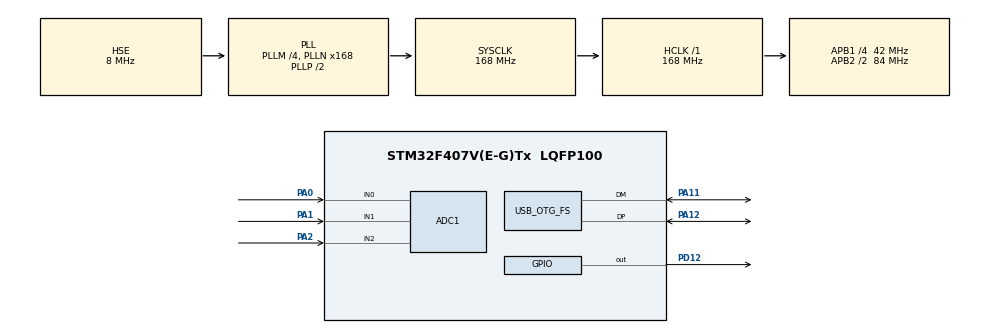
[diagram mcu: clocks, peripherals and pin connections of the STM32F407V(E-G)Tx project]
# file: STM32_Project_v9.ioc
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ADC1.Channel-8\#ChannelRegularConversion=ADC_CHANNEL_1
ADC1.Channel-9\#ChannelRegularConversion=ADC_CHANNEL_2
ADC1.ContinuousConvMode=ENABLE
ADC1.DMAContinuousRequests=ENABLE
ADC1.EOCSelection=ADC_EOC_SEQ_CONV
ADC1.NbrOfConversion=3
ADC1.NbrOfConversionFlag=1
ADC1.Rank-8\#ChannelRegularConversion=2
ADC1.Rank-9\#ChannelRegularConversion=3
ADC1.SamplingTime-8\#ChannelRegularConversion=ADC_SAMPLETIME_3CYCLES
ADC1.SamplingTime-9\#ChannelRegularConversion=ADC_SAMPLETIME_3CYCLES
ADC1.master=1
Dma.ADC1.0.Direction=DMA_PERIPH_TO_MEMORY
Dma.ADC1.0.FIFOMode=DMA_FIFOMODE_DISABLE
Dma.ADC1.0.Instance=DMA2_Stream0
Dma.ADC1.0.MemDataAlignment=DMA_MDATAALIGN_HALFWORD
Dma.ADC1.0.MemInc=DMA_MINC_ENABLE
Dma.ADC1.0.Mode=DMA_CIRCULAR
Dma.ADC1.0.PeriphDataAlignment=DMA_PDATAALIGN_HALFWORD
Dma.ADC1.0.PeriphInc=DMA_PINC_DISABLE
Dma.ADC1.0.Priority=DMA_PRIORITY_LOW
Dma.Request0=ADC1
Mcu.Family=STM32F4
Mcu.Name=STM32F407V(E-G)Tx
Mcu.Package=LQFP100
NVIC.DMA2_Stream0_IRQn=true\:0\:0\:false\:false\:true\:false\:true\:true
NVIC.OTG_FS_IRQn=true\:0\:0\:false\:false\:true\:false\:true\:true
NVIC.PriorityGroup=NVIC_PRIORITYGROUP_4
PA0-WKUP.Signal=SharedAnalog_PA0
PA1.Signal=SharedAnalog_PA1
PA11.Mode=Device_Only
PA11.Signal=USB_OTG_FS_DM
PA12.Mode=Device_Only
PA12.Signal=USB_OTG_FS_DP
PA2.Signal=SharedAnalog_PA2
PD12.Signal=GPIO_Output
PH0-OSC_IN.Mode=HSE-External-Oscillator
PH0-OSC_IN.Signal=RCC_OSC_IN
PH1-OSC_OUT.Mode=HSE-External-Oscillator
PH1-OSC_OUT.Signal=RCC_OSC_OUT
ProjectManager.HeapSize=0x200
ProjectManager.StackSize=0x400
ProjectManager.TargetToolchain=STM32CubeIDE
RCC.48MHZClocksFreq_Value=48000000
RCC.AHBFreq_Value=168000000
RCC.APB1CLKDivider=RCC_HCLK_DIV4
RCC.APB1Freq_Value=42000000
RCC.APB1TimFreq_Value=84000000
RCC.APB2CLKDivider=RCC_HCLK_DIV2
RCC.APB2Freq_Value=84000000
RCC.APB2TimFreq_Value=168000000
RCC.CortexFreq_Value=168000000
RCC.HCLKFreq_Value=168000000
RCC.HSE_VALUE=8000000
RCC.HSI_VALUE=16000000
RCC.LSE_VALUE=32768
RCC.PLLM=4
RCC.PLLN=168
RCC.PLLQ=7
RCC.SYSCLKFreq_VALUE=168000000
RCC.SYSCLKSource=RCC_SYSCLKSOURCE_PLLCLK
RCC.VCOOutputFreq_Value=336000000
SH.SharedAnalog_PA0.0=GPIO_Analog
SH.SharedAnalog_PA0.1=ADC1_IN0,IN0
SH.SharedAnalog_PA1.0=GPIO_Analog
SH.SharedAnalog_PA1.1=ADC1_IN1,IN1
SH.SharedAnalog_PA2.0=GPIO_Analog
SH.SharedAnalog_PA2.1=ADC1_IN2,IN2
USB_DEVICE.CLASS_NAME_FS=CDC
USB_DEVICE.VirtualMode-CDC_FS=Cdc
USB_DEVICE.VirtualModeFS=Cdc_FS
USB_OTG_FS.VirtualMode=Device_Only
VP_USB_DEVICE_VS_USB_DEVICE_CDC_FS.Mode=CDC_FS
board=custom

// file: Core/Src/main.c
/* USER CODE BEGIN Header */
/**
  ******************************************************************************
  * @file           : main.c
  * @brief          : Main program body
  ******************************************************************************
  * @attention
  *
  * Copyright (c) 2026 STMicroelectronics.
  * All rights reserved.
  *
  ******************************************************************************
  */
/* USER CODE END Header */
#include "main.h"
#include "usb_device.h"

/* USER CODE BEGIN Includes */

#include <stdio.h>
#include <string.h>
#include "usbd_cdc_if.h"

/* USER CODE END Includes */

ADC_HandleTypeDef hadc1;
DMA_HandleTypeDef hdma_adc1;

/* USER CODE BEGIN PV */
#define SAMPLES_NUM 1
#define ADC_BUF_LEN (3 * SAMPLES_NUM)
#define SAMPLES_PER_PACKET 10
#define PACKET_SIZE (SAMPLES_PER_PACKET * 6)
uint8_t i = 0;
uint16_t adc_buffer[ADC_BUF_LEN]; // X, Y, Z readings
volatile uint8_t tx_busy = 0;
//volatile uint8_t data_ready = 0;   // flag set by timer interrupt
/* USER CODE END PV */

void SystemClock_Config(void);
static void MX_GPIO_Init(void);
static void MX_DMA_Init(void);
static void MX_ADC1_Init(void);
/* USER CODE BEGIN PFP */

uint16_t Read_ADC_Channel(uint32_t channel);

/* USER CODE END PFP */

/* USER CODE BEGIN 0 */
//void HAL_TIM_PeriodElapsedCallback(TIM_HandleTypeDef *htim) {
//    if (htim->Instance == TIM2) {
//        data_ready = 1;   // signal main loop to send data
//    }
//}
/* USER CODE END 0 */

int main(void)
{

  /* MCU Configuration--------------------------------------------------------*/

  /* Reset of all peripherals, Initializes the Flash interface and the Systick. */
  HAL_Init();

  /* Configure the system clock */
  SystemClock_Config();

  /* Initialize all configured peripherals */
  MX_GPIO_Init();
  MX_DMA_Init();
  MX_ADC1_Init();
  MX_USB_DEVICE_Init();
  /* USER CODE BEGIN 2 */
  // Initialise ADXL335 with pointers to the DMA buffer

  //Calibration procedure
  //char msg[64];
  //int len;

  //len = snprintf(msg, sizeof(msg), "%s\r\n", "Calibration started!");
  //CDC_Transmit_FS((uint8_t*)msg, len);

  //ADXL335_Calibrate(&accel, 100);

  //len = snprintf(msg, sizeof(msg), "%s\r\n", "Calibration has finished.....");
  //CDC_Transmit_FS((uint8_t*)msg, len);

  // Start ADC DMA (continuous conversion)
  HAL_ADC_Start_DMA(&hadc1, (uint32_t*)adc_buffer, ADC_BUF_LEN);

  // Start timer for precise data rate (e.g., 100 Hz)
  //HAL_TIM_Base_Start_IT(&htim2);
  /* USER CODE END 2 */

  /* Infinite loop */
  while (1)
    {

      /* USER CODE BEGIN 3 */

	  uint16_t x, y, z;
	  __disable_irq();
	  x = adc_buffer[0];
	  y = adc_buffer[1];
	  z = adc_buffer[2];
	  __enable_irq();

	  uint8_t packet[PACKET_SIZE];
	  packet[i++] = x >> 8;
	  packet[i++] = x & 0xFF;
	  packet[i++] = y >> 8;
	  packet[i++] = y & 0xFF;
	  packet[i++] = z >> 8;
	  packet[i++] = z & 0xFF;

	  if (i >= PACKET_SIZE)
	  {
		  CDC_Transmit_FS(packet, PACKET_SIZE);
		  i = 0;
	  }

/*
  	  	  uint16_t x, y, z;
  	      __disable_irq();
  	      x = adc_buffer[0];
  	      y = adc_buffer[1];
  	      z = adc_buffer[2];
  	      __enable_irq();

  	      if (!tx_busy) {
  	          uint8_t packet[6];
  	          packet[0] = x >> 8;
  	          packet[1] = x & 0xFF;
  	          packet[2] = y >> 8;
  	          packet[3] = y & 0xFF;
  	          packet[4] = z >> 8;
  	          packet[5] = z & 0xFF;
  	          CDC_Transmit_FS(packet, 6);
  	      }
*/
  /*
  		uint16_t xx, yy, zz;
  		__disable_irq();                // prevent DMA interrupt during copy
  		xx = adc_buffer[0];
  		yy = adc_buffer[1];
  		zz = adc_buffer[2];
  		__enable_irq();

  		char msg[64];
  		int len = snprintf(msg, sizeof(msg), "%u,%u,%u\r\n", xx, yy, zz);
  		if (len > 0) {
  			CDC_Transmit_FS((uint8_t*)msg, len);
  		}

  */

    }
    /* USER CODE END 3 */
  }

void SystemClock_Config(void)
{
  RCC_OscInitTypeDef RCC_OscInitStruct = {0};
  RCC_ClkInitTypeDef RCC_ClkInitStruct = {0};

  /** Configure the main internal regulator output voltage
  */
  __HAL_RCC_PWR_CLK_ENABLE();
  __HAL_PWR_VOLTAGESCALING_CONFIG(PWR_REGULATOR_VOLTAGE_SCALE1);

  /** Initializes the RCC Oscillators according to the specified parameters
  * in the RCC_OscInitTypeDef structure.
  */
  RCC_OscInitStruct.OscillatorType = RCC_OSCILLATORTYPE_HSE;
  RCC_OscInitStruct.HSEState = RCC_HSE_ON;
  RCC_OscInitStruct.PLL.PLLState = RCC_PLL_ON;
  RCC_OscInitStruct.PLL.PLLSource = RCC_PLLSOURCE_HSE;
  RCC_OscInitStruct.PLL.PLLM = 4;
  RCC_OscInitStruct.PLL.PLLN = 168;
  RCC_OscInitStruct.PLL.PLLP = RCC_PLLP_DIV2;
  RCC_OscInitStruct.PLL.PLLQ = 7;
  if (HAL_RCC_OscConfig(&RCC_OscInitStruct) != HAL_OK)
  {
    Error_Handler();
  }

  /** Initializes the CPU, AHB and APB buses clocks
  */
  RCC_ClkInitStruct.ClockType = RCC_CLOCKTYPE_HCLK|RCC_CLOCKTYPE_SYSCLK
                              |RCC_CLOCKTYPE_PCLK1|RCC_CLOCKTYPE_PCLK2;
  RCC_ClkInitStruct.SYSCLKSource = RCC_SYSCLKSOURCE_PLLCLK;
  RCC_ClkInitStruct.AHBCLKDivider = RCC_SYSCLK_DIV1;
  RCC_ClkInitStruct.APB1CLKDivider = RCC_HCLK_DIV4;
  RCC_ClkInitStruct.APB2CLKDivider = RCC_HCLK_DIV2;

  if (HAL_RCC_ClockConfig(&RCC_ClkInitStruct, FLASH_LATENCY_5) != HAL_OK)
  {
    Error_Handler();
  }
}

static void MX_ADC1_Init(void)
{

  ADC_ChannelConfTypeDef sConfig = {0};

  /** Configure the global features of the ADC (Clock, Resolution, Data Alignment and number of conversion)
  */
  hadc1.Instance = ADC1;
  hadc1.Init.ClockPrescaler = ADC_CLOCK_SYNC_PCLK_DIV4;
  hadc1.Init.Resolution = ADC_RESOLUTION_12B;
  hadc1.Init.ScanConvMode = ENABLE;
  hadc1.Init.ContinuousConvMode = ENABLE;
  hadc1.Init.DiscontinuousConvMode = DISABLE;
  hadc1.Init.ExternalTrigConvEdge = ADC_EXTERNALTRIGCONVEDGE_NONE;
  hadc1.Init.ExternalTrigConv = ADC_SOFTWARE_START;
  hadc1.Init.DataAlign = ADC_DATAALIGN_RIGHT;
  hadc1.Init.NbrOfConversion = 3;
  hadc1.Init.DMAContinuousRequests = ENABLE;
  hadc1.Init.EOCSelection = ADC_EOC_SEQ_CONV;
  if (HAL_ADC_Init(&hadc1) != HAL_OK)
  {
    Error_Handler();
  }

  /** Configure for the selected ADC regular channel its corresponding rank in the sequencer and its sample time.
  */
  sConfig.Channel = ADC_CHANNEL_0;
  sConfig.Rank = 1;
  sConfig.SamplingTime = ADC_SAMPLETIME_3CYCLES;
  if (HAL_ADC_ConfigChannel(&hadc1, &sConfig) != HAL_OK)
  {
    Error_Handler();
  }

  /** Configure for the selected ADC regular channel its corresponding rank in the sequencer and its sample time.
  */
  sConfig.Channel = ADC_CHANNEL_1;
  sConfig.Rank = 2;
  if (HAL_ADC_ConfigChannel(&hadc1, &sConfig) != HAL_OK)
  {
    Error_Handler();
  }

  /** Configure for the selected ADC regular channel its corresponding rank in the sequencer and its sample time.
  */
  sConfig.Channel = ADC_CHANNEL_2;
  sConfig.Rank = 3;
  if (HAL_ADC_ConfigChannel(&hadc1, &sConfig) != HAL_OK)
  {
    Error_Handler();
  }

}

static void MX_DMA_Init(void)
{

  /* DMA controller clock enable */
  __HAL_RCC_DMA2_CLK_ENABLE();

  /* DMA interrupt init */
  /* DMA2_Stream0_IRQn interrupt configuration */
  HAL_NVIC_SetPriority(DMA2_Stream0_IRQn, 0, 0);
  HAL_NVIC_EnableIRQ(DMA2_Stream0_IRQn);

}

static void MX_GPIO_Init(void)
{
  GPIO_InitTypeDef GPIO_InitStruct = {0};

  /* GPIO Ports Clock Enable */
  __HAL_RCC_GPIOH_CLK_ENABLE();
  __HAL_RCC_GPIOA_CLK_ENABLE();
  __HAL_RCC_GPIOD_CLK_ENABLE();

  /*Configure GPIO pin Output Level */
  HAL_GPIO_WritePin(GPIOD, GPIO_PIN_12, GPIO_PIN_RESET);

  /*Configure GPIO pin : PD12 */
  GPIO_InitStruct.Pin = GPIO_PIN_12;
  GPIO_InitStruct.Mode = GPIO_MODE_OUTPUT_PP;
  GPIO_InitStruct.Pull = GPIO_NOPULL;
  GPIO_InitStruct.Speed = GPIO_SPEED_FREQ_LOW;
  HAL_GPIO_Init(GPIOD, &GPIO_InitStruct);

}

void Error_Handler(void)
{
  __disable_irq();
  while (1)
  {
  }
}
